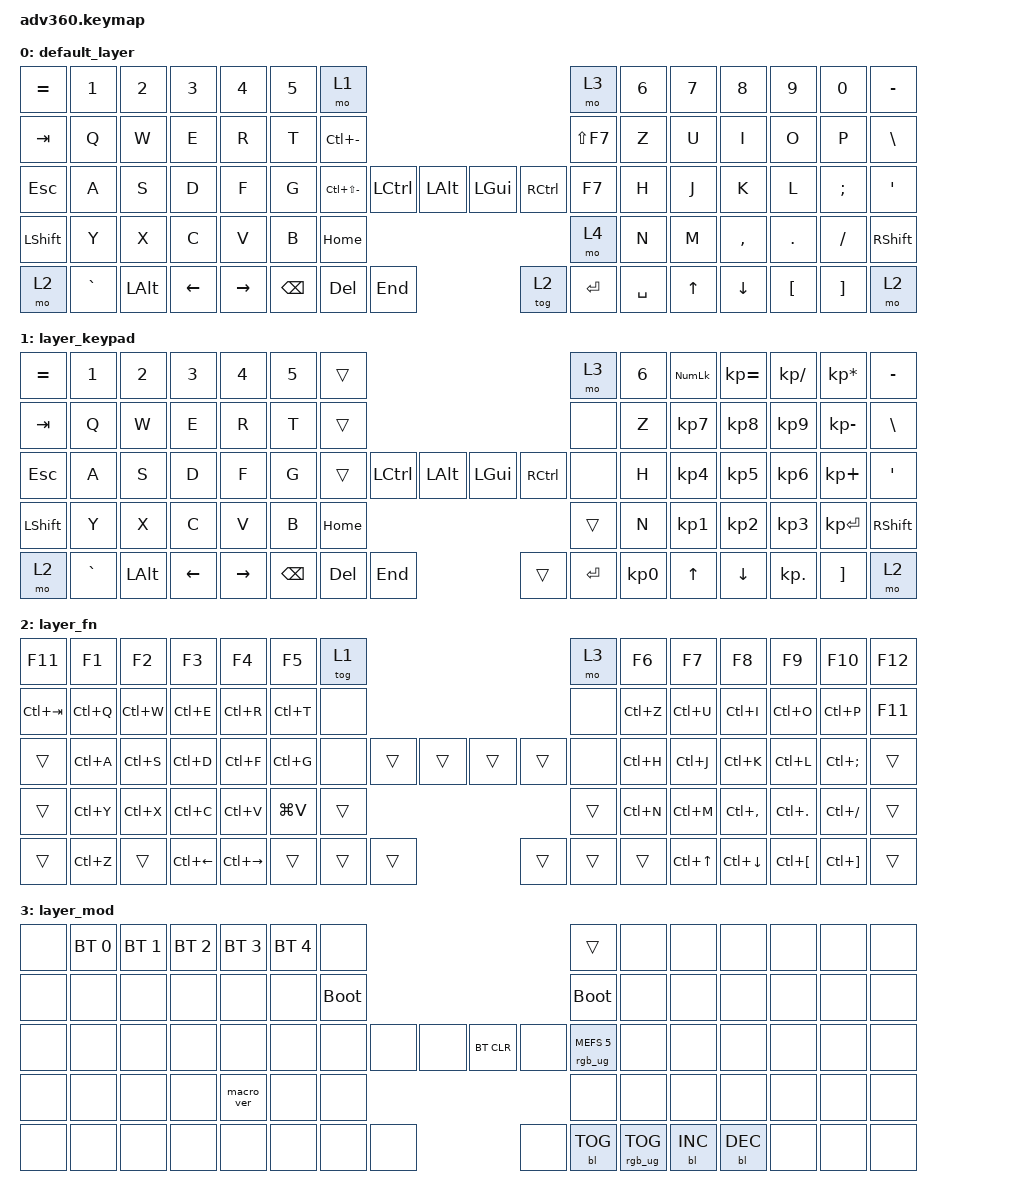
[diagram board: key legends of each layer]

/*
 * Copyright (c) 2020 The ZMK Contributors
 *
 * SPDX-License-Identifier: MIT
 */


/* THIS FILE WAS GENERATED!
 *
 * This file was generated automatically. You may or may not want to
 * edit it directly.
 */

#include <behaviors.dtsi>
#include <dt-bindings/zmk/keys.h>
#include <dt-bindings/zmk/bt.h>
#include <dt-bindings/zmk/rgb.h>
#include <dt-bindings/zmk/backlight.h>

/ {
  behaviors {
    #include "macros.dtsi"
    #include "version.dtsi"

    hm: homerow_mods {
        compatible = "zmk,behavior-hold-tap";
        label = "HOMEROW_MODS";
        #binding-cells = <2>;
        tapping-term-ms = <200>;
        quick_tap_ms = <175>;
        flavor = "tap-preferred";
        bindings = <&kp>, <&kp>;
    };
  };

    keymap {
        compatible = "zmk,keymap";


        default_layer {
            bindings = <
 &kp EQUAL     &kp N1        &kp N2    &kp N3     &kp N4  &kp N5                        &mo 1                                                                 &mo 3  &kp N6  &kp N7     &kp N8    &kp N9    &kp N0         &kp MINUS
   &kp TAB      &kp Q         &kp W     &kp E      &kp R   &kp T                &kp LC(MINUS)                                                            &kp LS(F7)   &kp Z   &kp U      &kp I     &kp O     &kp P          &kp BSLH
   &kp ESC      &kp A         &kp S     &kp D      &kp F   &kp G            &kp LC(LS(MINUS))  &kp LCTRL  &kp LALT                  &kp LGUI  &kp RCTRL      &kp F7   &kp H   &kp J      &kp K     &kp L  &kp SEMI  &kp SINGLE_QUOTE
 &kp LSHFT      &kp Y         &kp X     &kp C      &kp V   &kp B                                          &kp HOME                     &mo 4                          &kp N   &kp M  &kp COMMA   &kp DOT  &kp FSLH         &kp RSHFT
     &mo 2  &kp GRAVE  &kp LEFT_ALT  &kp LEFT  &kp RIGHT                             &kp BSPC    &kp DEL   &kp END                    &tog 2  &kp ENTER   &kp SPACE          &kp UP   &kp DOWN  &kp LBKT  &kp RBKT             &mo 2
            >;
        };

        layer_keypad {
            bindings = <
 &kp EQUAL     &kp N1        &kp N2    &kp N3     &kp N4  &kp N5              &trans                                                                &mo 3  &kp N6  &kp KP_NUM  &kp KP_EQUAL  &kp KP_DIVIDE  &kp KP_MULTIPLY  &kp MINUS
   &kp TAB      &kp Q         &kp W     &kp E      &kp R   &kp T              &trans                                                                &none   &kp Z   &kp KP_N7     &kp KP_N8      &kp KP_N9     &kp KP_MINUS   &kp BSLH
   &kp ESC      &kp A         &kp S     &kp D      &kp F   &kp G              &trans  &kp LCTRL  &kp LALT                  &kp LGUI  &kp RCTRL      &none   &kp H   &kp KP_N4     &kp KP_N5      &kp KP_N6      &kp KP_PLUS    &kp SQT
 &kp LSHFT      &kp Y         &kp X     &kp C      &kp V   &kp B                                 &kp HOME                    &trans                         &kp N   &kp KP_N1     &kp KP_N2      &kp KP_N3     &kp KP_ENTER  &kp RSHFT
     &mo 2  &kp GRAVE  &kp LEFT_ALT  &kp LEFT  &kp RIGHT                    &kp BSPC    &kp DEL   &kp END                    &trans  &kp ENTER  &kp KP_N0              &kp UP      &kp DOWN     &kp KP_DOT         &kp RBKT      &mo 2
            >;
        };

        layer_fn {
            bindings = <
     &kp F11     &kp F1     &kp F2        &kp F3         &kp F4     &kp F5            &tog 1                                                   &mo 3     &kp F6      &kp F7         &kp F8                &kp F9                &kp F10  &kp F12
 &kp LC(TAB)  &kp LC(Q)  &kp LC(W)     &kp LC(E)      &kp LC(R)  &kp LC(T)             &none                                                   &none  &kp LC(Z)   &kp LC(U)      &kp LC(I)             &kp LC(O)              &kp LC(P)  &kp F11
      &trans  &kp LC(A)  &kp LC(S)     &kp LC(D)      &kp LC(F)  &kp LC(G)             &none  &trans  &trans                  &trans  &trans   &none  &kp LC(H)   &kp LC(J)      &kp LC(K)             &kp LC(L)      &kp LC(SEMICOLON)   &trans
      &trans  &kp LC(Y)  &kp LC(X)     &kp LC(C)      &kp LC(V)  &kp LG(V)                            &trans                  &trans                  &kp LC(N)   &kp LC(M)  &kp LC(COMMA)           &kp LC(DOT)          &kp LC(SLASH)   &trans
      &trans  &kp LC(Z)     &trans  &kp LC(LEFT)  &kp LC(RIGHT)                       &trans  &trans  &trans                  &trans  &trans  &trans             &kp LC(UP)   &kp LC(DOWN)  &kp LC(LEFT_BRACKET)  &kp LC(RIGHT_BRACKET)   &trans
            >;
        };

        layer_mod {
            bindings = <
  &none  &bt BT_SEL 0  &bt BT_SEL 1  &bt BT_SEL 2  &bt BT_SEL 3  &bt BT_SEL 4                  &none                                                                          &trans   &none       &none       &none   &none   &none   &none
  &none         &none         &none         &none         &none         &none            &bootloader                                                                     &bootloader   &none       &none       &none   &none   &none   &none
  &none         &none         &none         &none         &none         &none                  &none   &none   &none                  &bt BT_CLR       &none  &rgb_ug RGB_MEFS_CMD 5   &none       &none       &none   &none   &none   &none
  &none         &none         &none         &none    &macro_ver         &none                                  &none                       &none                                       &none       &none       &none   &none   &none   &none
  &none         &none         &none         &none         &none                                &none   &none   &none                       &none  &bl BL_TOG         &rgb_ug RGB_TOG          &bl BL_INC  &bl BL_DEC   &none   &none   &none
            >;
        };

    };
};
